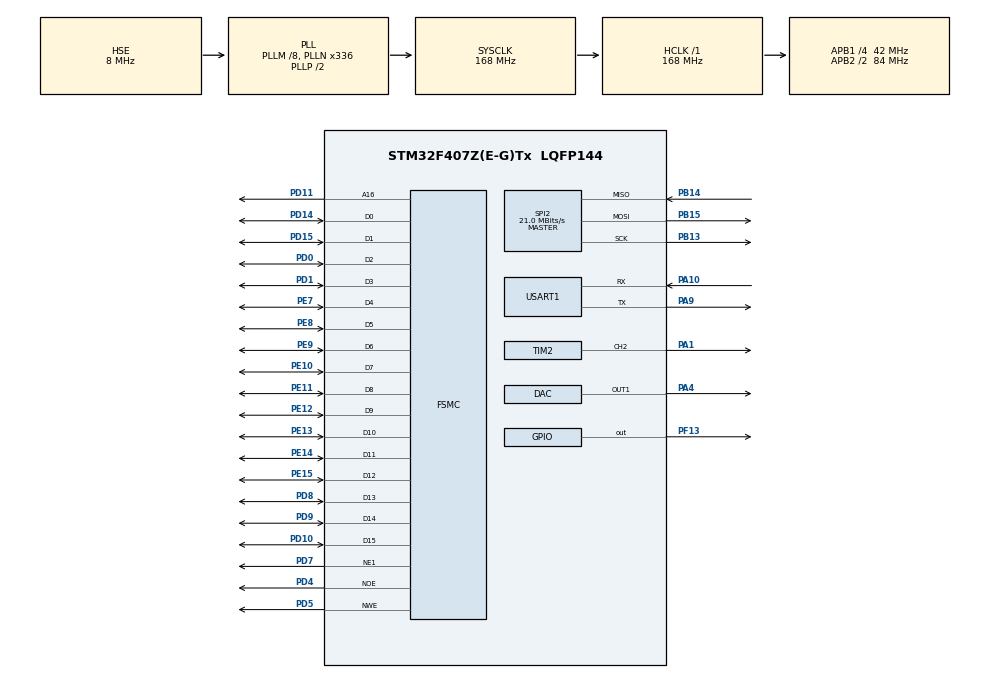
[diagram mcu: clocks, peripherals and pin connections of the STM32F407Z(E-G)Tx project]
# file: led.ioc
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DAC.DAC_OutputBuffer=DAC_OUTPUTBUFFER_DISABLE
DAC.DAC_Trigger=DAC_TRIGGER_T6_TRGO
Dma.DAC1.2.Direction=DMA_MEMORY_TO_PERIPH
Dma.DAC1.2.FIFOMode=DMA_FIFOMODE_DISABLE
Dma.DAC1.2.Instance=DMA1_Stream5
Dma.DAC1.2.MemDataAlignment=DMA_MDATAALIGN_HALFWORD
Dma.DAC1.2.MemInc=DMA_MINC_ENABLE
Dma.DAC1.2.Mode=DMA_CIRCULAR
Dma.DAC1.2.PeriphDataAlignment=DMA_PDATAALIGN_HALFWORD
Dma.DAC1.2.PeriphInc=DMA_PINC_DISABLE
Dma.DAC1.2.Priority=DMA_PRIORITY_LOW
Dma.Request0=USART1_RX
Dma.Request1=USART1_TX
Dma.Request2=DAC1
Dma.USART1_RX.0.Direction=DMA_PERIPH_TO_MEMORY
Dma.USART1_RX.0.FIFOMode=DMA_FIFOMODE_DISABLE
Dma.USART1_RX.0.Instance=DMA2_Stream2
Dma.USART1_RX.0.MemDataAlignment=DMA_MDATAALIGN_BYTE
Dma.USART1_RX.0.MemInc=DMA_MINC_ENABLE
Dma.USART1_RX.0.Mode=DMA_NORMAL
Dma.USART1_RX.0.PeriphDataAlignment=DMA_PDATAALIGN_BYTE
Dma.USART1_RX.0.PeriphInc=DMA_PINC_DISABLE
Dma.USART1_RX.0.Priority=DMA_PRIORITY_LOW
Dma.USART1_TX.1.Direction=DMA_MEMORY_TO_PERIPH
Dma.USART1_TX.1.FIFOMode=DMA_FIFOMODE_DISABLE
Dma.USART1_TX.1.Instance=DMA2_Stream7
Dma.USART1_TX.1.MemDataAlignment=DMA_MDATAALIGN_BYTE
Dma.USART1_TX.1.MemInc=DMA_MINC_ENABLE
Dma.USART1_TX.1.Mode=DMA_NORMAL
Dma.USART1_TX.1.PeriphDataAlignment=DMA_PDATAALIGN_BYTE
Dma.USART1_TX.1.PeriphInc=DMA_PINC_DISABLE
Dma.USART1_TX.1.Priority=DMA_PRIORITY_LOW
FSMC.AddressSetupTime1=2
FSMC.BusTurnAroundDuration1=0
FSMC.DataSetupTime1=1
Mcu.Family=STM32F4
Mcu.Name=STM32F407Z(E-G)Tx
Mcu.Package=LQFP144
NVIC.DMA1_Stream5_IRQn=true\:0\:0\:false\:false\:true\:false\:true\:true
NVIC.DMA2_Stream2_IRQn=true\:0\:0\:false\:true\:true\:3\:false\:true\:true
NVIC.DMA2_Stream7_IRQn=true\:0\:0\:false\:true\:true\:4\:false\:true\:true
NVIC.PriorityGroup=NVIC_PRIORITYGROUP_4
NVIC.TIM7_IRQn=true\:7\:0\:true\:true\:true\:2\:true\:true\:true
NVIC.USART1_IRQn=true\:3\:0\:true\:true\:true\:1\:true\:true\:true
PA1.Signal=S_TIM2_CH2
PA10.Mode=Asynchronous
PA10.Signal=USART1_RX
PA13.Mode=Serial_Wire
PA13.Signal=SYS_JTMS-SWDIO
PA14.Mode=Serial_Wire
PA14.Signal=SYS_JTCK-SWCLK
PA4.Signal=COMP_DAC1_group
PA9.Mode=Asynchronous
PA9.Signal=USART1_TX
PB13.Mode=Full_Duplex_Master
PB13.Signal=SPI2_SCK
PB14.Mode=Full_Duplex_Master
PB14.Signal=SPI2_MISO
PB15.Mode=Full_Duplex_Master
PB15.Signal=SPI2_MOSI
PD0.Signal=FSMC_D2_DA2
PD1.Signal=FSMC_D3_DA3
PD10.Signal=FSMC_D15_DA15
PD11.Signal=FSMC_A16_CLE
PD14.Signal=FSMC_D0_DA0
PD15.Signal=FSMC_D1_DA1
PD4.Signal=FSMC_NOE
PD5.Signal=FSMC_NWE
PD7.Mode=NorPsramChipSelect1_1
PD7.Signal=FSMC_NE1
PD8.Signal=FSMC_D13_DA13
PD9.Signal=FSMC_D14_DA14
PE10.Signal=FSMC_D7_DA7
PE11.Signal=FSMC_D8_DA8
PE12.Signal=FSMC_D9_DA9
PE13.Signal=FSMC_D10_DA10
PE14.Signal=FSMC_D11_DA11
PE15.Signal=FSMC_D12_DA12
PE7.Signal=FSMC_D4_DA4
PE8.Signal=FSMC_D5_DA5
PE9.Signal=FSMC_D6_DA6
PF13.GPIO_Speed=GPIO_SPEED_FREQ_HIGH
PF13.PinState=GPIO_PIN_SET
PF13.Signal=GPIO_Output
PH0-OSC_IN.Mode=HSE-External-Oscillator
PH0-OSC_IN.Signal=RCC_OSC_IN
PH1-OSC_OUT.Mode=HSE-External-Oscillator
PH1-OSC_OUT.Signal=RCC_OSC_OUT
ProjectManager.HeapSize=0x200
ProjectManager.StackSize=0x4000
ProjectManager.TargetToolchain=MDK-ARM V5.32
RCC.48MHZClocksFreq_Value=84000000
RCC.AHBFreq_Value=168000000
RCC.APB1CLKDivider=RCC_HCLK_DIV4
RCC.APB1Freq_Value=42000000
RCC.APB1TimFreq_Value=84000000
RCC.APB2CLKDivider=RCC_HCLK_DIV2
RCC.APB2Freq_Value=84000000
RCC.APB2TimFreq_Value=168000000
RCC.CortexFreq_Value=168000000
RCC.HCLKFreq_Value=168000000
RCC.HSE_VALUE=8000000
RCC.HSI_VALUE=16000000
RCC.LSE_VALUE=32768
RCC.PLLM=8
RCC.PLLN=336
RCC.PLLSourceVirtual=RCC_PLLSOURCE_HSE
RCC.SYSCLKFreq_VALUE=168000000
RCC.SYSCLKSource=RCC_SYSCLKSOURCE_PLLCLK
RCC.VCOOutputFreq_Value=336000000
SH.COMP_DAC1_group.0=DAC_OUT1,DAC_OUT1
SH.FSMC_A16_CLE.0=FSMC_A16,A16_1
SH.FSMC_D0_DA0.0=FSMC_D0,16b-d1
SH.FSMC_D10_DA10.0=FSMC_D10,16b-d1
SH.FSMC_D11_DA11.0=FSMC_D11,16b-d1
SH.FSMC_D12_DA12.0=FSMC_D12,16b-d1
SH.FSMC_D13_DA13.0=FSMC_D13,16b-d1
SH.FSMC_D14_DA14.0=FSMC_D14,16b-d1
SH.FSMC_D15_DA15.0=FSMC_D15,16b-d1
SH.FSMC_D1_DA1.0=FSMC_D1,16b-d1
SH.FSMC_D2_DA2.0=FSMC_D2,16b-d1
SH.FSMC_D3_DA3.0=FSMC_D3,16b-d1
SH.FSMC_D4_DA4.0=FSMC_D4,16b-d1
SH.FSMC_D5_DA5.0=FSMC_D5,16b-d1
SH.FSMC_D6_DA6.0=FSMC_D6,16b-d1
SH.FSMC_D7_DA7.0=FSMC_D7,16b-d1
SH.FSMC_D8_DA8.0=FSMC_D8,16b-d1
SH.FSMC_D9_DA9.0=FSMC_D9,16b-d1
SH.FSMC_NOE.0=FSMC_NOE,Lcd1
SH.FSMC_NWE.0=FSMC_NWE,Lcd1
SH.S_TIM2_CH2.0=TIM2_CH2,PWM Generation2 CH2
SPI2.CLKPhase=SPI_PHASE_2EDGE
SPI2.CLKPolarity=SPI_POLARITY_HIGH
SPI2.CalculateBaudRate=21.0 MBits/s
SPI2.Direction=SPI_DIRECTION_2LINES
SPI2.Mode=SPI_MODE_MASTER
SPI2.VirtualType=VM_MASTER
TIM2.Channel-PWM\ Generation2\ CH2=TIM_CHANNEL_2
TIM2.Period=999
TIM2.Prescaler=83
TIM2.Pulse-PWM\ Generation2\ CH2=200
TIM6.TIM_MasterOutputTrigger=TIM_TRGO_UPDATE
TIM7.Period=9999
TIM7.Prescaler=41
USART1.VirtualMode=VM_ASYNC
VP_TIM2_VS_ClockSourceINT.Mode=Internal
VP_TIM6_VS_ClockSourceINT.Mode=Enable_Timer
VP_TIM7_VS_ClockSourceINT.Mode=Enable_Timer
board=custom

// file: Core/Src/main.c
/* USER CODE BEGIN Header */
/**
  ******************************************************************************
  * @file           : main.c
  * @brief          : Main program body
  ******************************************************************************
  * @attention
  *
  * Copyright (c) 2026 STMicroelectronics.
  * All rights reserved.
  *
  * This software is licensed under terms that can be found in the LICENSE file
  * in the root directory of this software component.
  * If no LICENSE file comes with this software, it is provided AS-IS.
  *
  ******************************************************************************
  */
/* USER CODE END Header */
#include "main.h"
#include "dac.h"
#include "dma.h"
#include "spi.h"
#include "tim.h"
#include "usart.h"
#include "gpio.h"
#include "fsmc.h"

/* USER CODE BEGIN Includes */
#include "led.h"
#include "tftDisp.h"
#include "pict1.h"
#include "timeAPP.h"
#include "key.h"
#include "touch.h"
#include "uartapp.h"
#include "dacapp.h"
/* USER CODE END Includes */

/* USER CODE BEGIN PD */
// A、在(200,100)位置, 以24*24点阵显示自己的姓名和学号: 白字黑底
//    ★★★ 请把下面两行的姓名和学号改成自己的(本文件必须以 GB2312/GBK 编码保存) ★★★
#define  MY_NAME        " 周泽乐"
#define  MY_ID          "24121980"
#define  MY_NAME_ID     MY_NAME MY_ID
#define  NAME_DISP_X    200        // 姓名学号显示的X坐标
#define  NAME_DISP_Y    100        // 姓名学号显示的Y坐标
// F、在(200,150)显示频率值和占空比值: 白字蓝底
#define  FD_DISP_X      200        // 频率/占空比显示的X坐标
#define  FD_DISP_Y      150        // 频率/占空比显示的Y坐标

/* USER CODE END PD */

void SystemClock_Config(void);
static void MX_NVIC_Init(void);

int main(void)
{

  /* USER CODE BEGIN 1 */
    int    freq    = 1000;   // C、开机输出频率1000Hz
    double duty    = 0.20;   // C、开机输出占空比20%
    BOOL   refresh = TRUE;
  /* USER CODE END 1 */

  /* MCU Configuration--------------------------------------------------------*/

  /* Reset of all peripherals, Initializes the Flash interface and the Systick. */
  HAL_Init();

  /* Configure the system clock */
  SystemClock_Config();

  /* Initialize all configured peripherals */
  MX_GPIO_Init();
  MX_DMA_Init();
  MX_FSMC_Init();
  MX_SPI2_Init();
  MX_TIM7_Init();
  MX_TIM2_Init();
  MX_USART1_UART_Init();
  MX_DAC_Init();
  MX_TIM6_Init();

  /* Initialize interrupts */
  MX_NVIC_Init();
  /* USER CODE BEGIN 2 */
    LED_GPIO_Init();  // LED1-LED4引脚初始化
    W25Q64_CS_GPIO_Init(); // SPI2.CS初始化
    LCD_Initialize();  // LCD控制引脚和软件的初始化

    // A、在(200,100)以24*24汉字显示姓名和学号: 白字黑底
    Gui_Draw_Asc24_Hzk24(NAME_DISP_X, NAME_DISP_Y, WHITE_4_4, BLACK, (uint8_t*)MY_NAME_ID);

    HAL_TIM_Base_Start_IT(&htim7); // tim7开始计数，并且计数溢出后触发中断
    HAL_TIM_PWM_Start(&htim2, TIM_CHANNEL_2); // tim2开始计数，并且比较产生脉冲信号，没有中断

    KEY_GPIO_Init(); // 按键引脚的初始化

    Draw_Main_Win();                                            // 画出占空比滑动条
    // F、在(200,150)显示频率值和占空比值: 白字蓝底
    Disp_Freq_Duty(FD_DISP_X, FD_DISP_Y, WHITE_4_4, BLUE_4_4, freq, duty);
    // Pvz_DrawEntryButton();                                     // 画出"进入游戏"按钮
    FT6336_I2C_GPIO_Init();

    HAL_UARTEx_ReceiveToIdle_DMA(&huart1, U1_Rx_Buf, U1_RXD_SIZE);//串口接收
    printf("罗浩文24121977\r\n");

    DAC_Init(& DAC_Param);

  /* USER CODE END 2 */

  /* Infinite loop */
  /* USER CODE BEGIN WHILE */
  while (1)
  {
      if(refresh==TRUE){
        refresh=FALSE;
        HAL_TIM_PWM_Stop (&htim2, TIM_CHANNEL_2);            // tim2停计数
        Set_TIMx_Freq_Duty (&htim2, freq, TIM_CHANNEL_2,duty);
        HAL_TIM_PWM_Start (&htim2,TIM_CHANNEL_2);            // tim2开始计数

        // F、刷新频率和占空比的显示, 并刷新滑动条位置
        Disp_Freq_Duty(FD_DISP_X, FD_DISP_Y, WHITE_4_4, BLUE_4_4, freq, duty);
        Draw_Duty_Slider(duty);
      }

      Key_Process(&Key, &freq, &duty, &refresh);      // D、按键调频率
      Touch_Process(&Touch, &freq, &duty, &refresh);  // E、滑动条调占空比
      if(U1_Rx_Success==SUCCESS)
      {
      U1_Rx_Success=ERROR;
      Usart1_Process(U1_Rx_Buf,U1_IDLE_Rxed_Num);
      HAL_UARTEx_ReceiveToIdle_DMA(&huart1, U1_Rx_Buf, U1_RXD_SIZE);//串口接收
      }
      if(DAC_Param.DAC_Refresh == TRUE)
     {
       DAC_Param.DAC_Refresh = FALSE;
       HAL_TIM_Base_Stop(&htim6);
       Setup_DAC_Signal(& DAC_Param);
       Set_TIMx_TO_DAC_Freq(&htim6, DAC_Param.DAC_Freq, DAC_NOW_SIZE);
       HAL_DAC_Start_DMA(&hdac, DAC1_CHANNEL_1, (uint32_t *)&DAC_Param.DAC_Value, DAC_NOW_SIZE, DAC_ALIGN_12B_R);

       HAL_TIM_Base_Start(&htim6);
      }

    /* USER CODE END WHILE */

  }
}

void SystemClock_Config(void)
{
  RCC_OscInitTypeDef RCC_OscInitStruct = {0};
  RCC_ClkInitTypeDef RCC_ClkInitStruct = {0};

  /** Configure the main internal regulator output voltage
  */
  __HAL_RCC_PWR_CLK_ENABLE();
  __HAL_PWR_VOLTAGESCALING_CONFIG(PWR_REGULATOR_VOLTAGE_SCALE1);

  /** Initializes the RCC Oscillators according to the specified parameters
  * in the RCC_OscInitTypeDef structure.
  */
  RCC_OscInitStruct.OscillatorType = RCC_OSCILLATORTYPE_HSE;
  RCC_OscInitStruct.HSEState = RCC_HSE_ON;
  RCC_OscInitStruct.PLL.PLLState = RCC_PLL_ON;
  RCC_OscInitStruct.PLL.PLLSource = RCC_PLLSOURCE_HSE;
  RCC_OscInitStruct.PLL.PLLM = 8;
  RCC_OscInitStruct.PLL.PLLN = 336;
  RCC_OscInitStruct.PLL.PLLP = RCC_PLLP_DIV2;
  RCC_OscInitStruct.PLL.PLLQ = 4;
  if (HAL_RCC_OscConfig(&RCC_OscInitStruct) != HAL_OK)
  {
    Error_Handler();
  }

  /** Initializes the CPU, AHB and APB buses clocks
  */
  RCC_ClkInitStruct.ClockType = RCC_CLOCKTYPE_HCLK|RCC_CLOCKTYPE_SYSCLK
                              |RCC_CLOCKTYPE_PCLK1|RCC_CLOCKTYPE_PCLK2;
  RCC_ClkInitStruct.SYSCLKSource = RCC_SYSCLKSOURCE_PLLCLK;
  RCC_ClkInitStruct.AHBCLKDivider = RCC_SYSCLK_DIV1;
  RCC_ClkInitStruct.APB1CLKDivider = RCC_HCLK_DIV4;
  RCC_ClkInitStruct.APB2CLKDivider = RCC_HCLK_DIV2;

  if (HAL_RCC_ClockConfig(&RCC_ClkInitStruct, FLASH_LATENCY_5) != HAL_OK)
  {
    Error_Handler();
  }
}

/**
  * @brief NVIC Configuration.
  * @retval None
  */
static void MX_NVIC_Init(void)
{
  /* USART1_IRQn interrupt configuration */
  HAL_NVIC_SetPriority(USART1_IRQn, 3, 0);
  HAL_NVIC_EnableIRQ(USART1_IRQn);
  /* TIM7_IRQn interrupt configuration */
  HAL_NVIC_SetPriority(TIM7_IRQn, 7, 0);
  HAL_NVIC_EnableIRQ(TIM7_IRQn);
  /* DMA2_Stream2_IRQn interrupt configuration */
  HAL_NVIC_SetPriority(DMA2_Stream2_IRQn, 0, 0);
  HAL_NVIC_EnableIRQ(DMA2_Stream2_IRQn);
  /* DMA2_Stream7_IRQn interrupt configuration */
  HAL_NVIC_SetPriority(DMA2_Stream7_IRQn, 0, 0);
  HAL_NVIC_EnableIRQ(DMA2_Stream7_IRQn);
}

void Error_Handler(void)
{
  __disable_irq();
  while (1)
  {
  }
}
